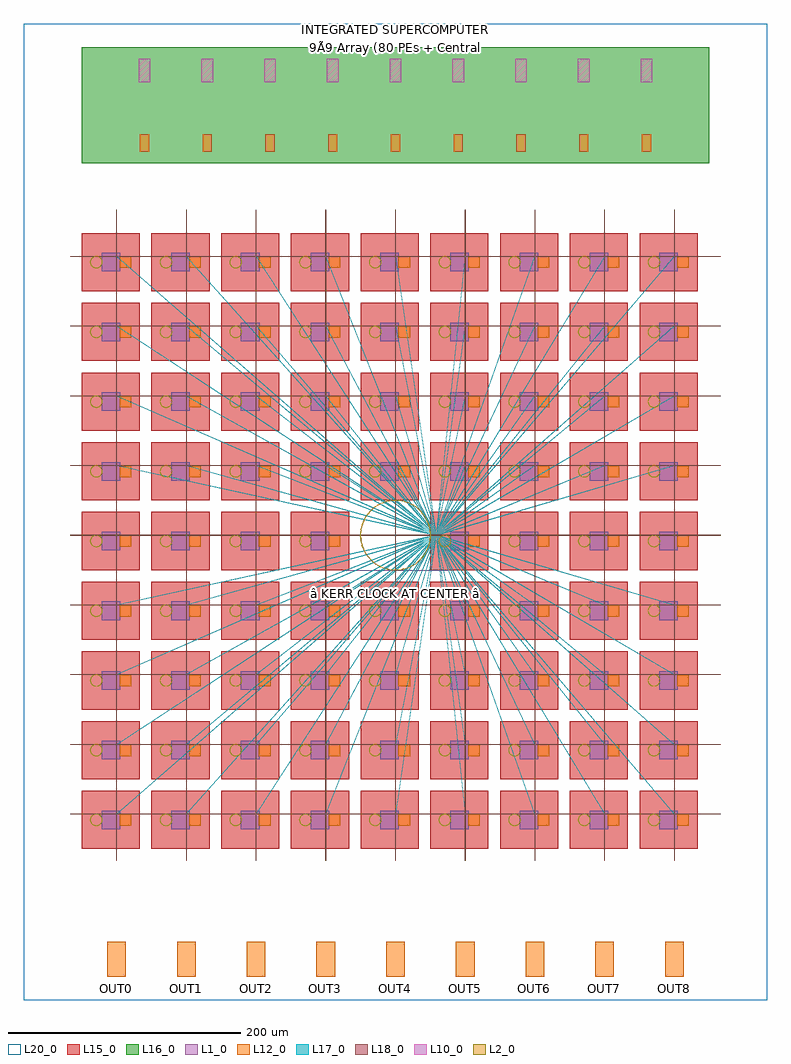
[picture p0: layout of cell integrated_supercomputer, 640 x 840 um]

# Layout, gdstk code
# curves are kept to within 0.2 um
import gdstk
lib = gdstk.Library(unit=1e-6, precision=1e-09)
def R(c, l, rs):  # rectangles x0, y0, x1, y1
    for r in rs: c.add(gdstk.rectangle(r[:2], r[2:], *l))
def A(c, l, x, y, w, h, nx, ny, dx, dy):  # array of equal rectangles
    R(c, l, [(x+i*dx, y+j*dy, x+i*dx+w, y+j*dy+h) for i in range(nx) for j in range(ny)])
def P(c, l, *ps):  # polygons
    for p in ps: c.add(gdstk.Polygon(p, *l))
L1_0 = (1, 0)
L2_0 = (2, 0)
L10_0 = (10, 0)
L12_0 = (12, 0)
L15_0 = (15, 0)
L16_0 = (16, 0)
L17_0 = (17, 0)
L18_0 = (18, 0)
L20_0 = (20, 0)

super_ioc_integrated = lib.new_cell('super_ioc_integrated')
A(super_ioc_integrated, L10_0, 49, 70, 10, 20, 9, 1, 54, 0)
A(super_ioc_integrated, L12_0, 50, 10, 8, 15, 9, 1, 54, 0)
R(super_ioc_integrated, L16_0, [(0,0,540,100)])
super_ioc_integrated.add(gdstk.Label('SUPER IOC', (270,60), layer=100, texttype=0))
super_ioc_integrated.add(gdstk.Label('INTEGRATED', (270,40), layer=100, texttype=0))
super_ioc_integrated.add(gdstk.Label('INâ\x86\x92', (270,95), layer=100, texttype=0))
super_ioc_integrated.add(gdstk.Label('â\x86\x90OUT', (270,5), layer=100, texttype=0))

ring_gdsfactorypcomponen = lib.new_cell('ring_gdsfactorypcomponentspringspring_R30_W0p5_AR2p5_L2_0_A360')
P(ring_gdsfactorypcomponen, L2_0, [(0,-30.25),(-2.636,-30.135),(-3.948,-29.991),(-6.547,-29.533),(-9.096,-28.85),(-11.576,-27.947),(-13.968,-26.832),(-16.253,-25.513),(-18.415,-23.999),(-20.437,-22.303),(-21.39,-21.39),(-22.303,-20.437),(-23.999,-18.415),(-25.513,-16.253),(-26.832,-13.968),(-27.947,-11.576),(-28.85,-9.096),(-29.533,-6.547),(-29.991,-3.948),(-30.135,-2.636),(-30.25,0),(-30.135,2.636),(-29.991,3.948),(-29.533,6.547),(-28.85,9.096),(-27.947,11.576),(-26.832,13.968),(-25.513,16.253),(-23.999,18.415),(-22.303,20.437),(-21.39,21.39),(-20.437,22.303),(-18.415,23.999),(-16.253,25.513),(-13.968,26.832),(-11.576,27.947),(-9.096,28.85),(-6.547,29.533),(-3.948,29.991),(-2.636,30.135),(0,30.25),(2.636,30.135),(3.948,29.991),(6.547,29.533),(9.096,28.85),(11.576,27.947),(13.968,26.832),(16.253,25.513),(18.415,23.999),(20.437,22.303),(21.39,21.39),(22.303,20.437),(23.999,18.415),(25.513,16.253),(26.832,13.968),(27.947,11.576),(28.85,9.096),(29.533,6.547),(29.991,3.948),(30.135,2.636),(30.25,0),(29.75,0),(29.637,2.593),(29.298,5.166),(28.736,7.7),(27.956,10.175),(26.963,12.573),(26.389,13.737),(25.091,15.985),(24.37,17.064),(22.79,19.123),(21.934,20.099),(20.099,21.934),(19.123,22.79),(17.064,24.37),(15.985,25.091),(13.737,26.389),(11.385,27.485),(8.946,28.373),(6.439,29.045),(5.166,29.298),(2.593,29.637),(1.298,29.722),(-1.298,29.722),(-3.883,29.495),(-6.439,29.045),(-8.946,28.373),(-10.175,27.956),(-12.573,26.963),(-13.737,26.389),(-15.985,25.091),(-17.064,24.37),(-19.123,22.79),(-21.036,21.036),(-22.79,19.123),(-24.37,17.064),(-25.091,15.985),(-26.389,13.737),(-26.963,12.573),(-27.956,10.175),(-28.373,8.946),(-29.045,6.439),(-29.298,5.166),(-29.637,2.593),(-29.722,1.298),(-29.722,-1.298),(-29.637,-2.593),(-29.298,-5.166),(-29.045,-6.439),(-28.373,-8.946),(-27.956,-10.175),(-26.963,-12.573),(-26.389,-13.737),(-25.091,-15.985),(-24.37,-17.064),(-22.79,-19.123),(-21.934,-20.099),(-20.099,-21.934),(-19.123,-22.79),(-17.064,-24.37),(-15.985,-25.091),(-13.737,-26.389),(-11.385,-27.485),(-8.946,-28.373),(-6.439,-29.045),(-5.166,-29.298),(-2.593,-29.637),(-1.298,-29.722),(1.298,-29.722),(2.593,-29.637),(5.166,-29.298),(6.439,-29.045),(8.946,-28.373),(10.175,-27.956),(12.573,-26.963),(13.737,-26.389),(15.985,-25.091),(17.064,-24.37),(19.123,-22.79),(20.099,-21.934),(21.934,-20.099),(22.79,-19.123),(24.37,-17.064),(25.764,-14.875),(26.963,-12.573),(27.956,-10.175),(28.373,-8.946),(29.045,-6.439),(29.298,-5.166),(29.637,-2.593),(29.75,0),(30.25,0),(30.135,-2.636),(29.991,-3.948),(29.533,-6.547),(28.85,-9.096),(27.947,-11.576),(26.832,-13.968),(25.513,-16.253),(23.999,-18.415),(22.303,-20.437),(21.39,-21.39),(20.437,-22.303),(18.415,-23.999),(16.253,-25.513),(13.968,-26.832),(11.576,-27.947),(9.096,-28.85),(6.547,-29.533),(3.948,-29.991),(2.636,-30.135)])

straight_gdsfactorypcomp = lib.new_cell('straight_gdsfactorypcomponentspwaveguidespstraight_L90__0507d5f5')
R(straight_gdsfactorypcomp, L1_0, [(0,-0.25,90,0.25)])

kerr_clock = lib.new_cell('kerr_clock')
kerr_clock.add(gdstk.Reference(ring_gdsfactorypcomponen, (0,0)))
kerr_clock.add(gdstk.Reference(straight_gdsfactorypcomp, (-45,-30.45)))
kerr_clock.add(gdstk.Label('KERR', (0,0), layer=100, texttype=0))
kerr_clock.add(gdstk.Label('617MHz', (0,-15), layer=100, texttype=0))

c_ring_gdsfactorypcomponen = lib.new_cell('ring_gdsfactorypcomponentspringspring_R5_W0p3_AR2p5_L2_0_A360')
P(c_ring_gdsfactorypcomponen, L2_0, [(0,-5.15),(-0.894,-5.072),(-1.333,-4.975),(-1.971,-4.758),(-2.954,-4.219),(-3.642,-3.642),(-4.219,-2.954),(-4.758,-1.971),(-4.975,-1.333),(-5.072,-0.894),(-5.15,0),(-5.072,0.894),(-4.975,1.333),(-4.758,1.971),(-4.219,2.954),(-3.642,3.642),(-2.954,4.219),(-1.971,4.758),(-1.333,4.975),(-0.894,5.072),(0,5.15),(0.894,5.072),(1.333,4.975),(1.971,4.758),(2.954,4.219),(3.642,3.642),(4.219,2.954),(4.758,1.971),(4.975,1.333),(5.072,0.894),(5.15,0),(4.85,0),(4.809,0.633),(4.626,1.458),(4.396,2.05),(3.973,2.782),(3.576,3.277),(3.118,3.715),(2.425,4.2),(1.856,4.481),(1.255,4.685),(0.423,4.832),(-0.423,4.832),(-1.05,4.735),(-1.659,4.558),(-2.425,4.2),(-2.952,3.848),(-3.429,3.429),(-3.848,2.952),(-4.2,2.425),(-4.626,1.458),(-4.776,0.842),(-4.845,0.212),(-4.832,-0.423),(-4.735,-1.05),(-4.396,-2.05),(-4.09,-2.606),(-3.715,-3.118),(-3.277,-3.576),(-2.782,-3.973),(-1.856,-4.481),(-1.255,-4.685),(-0.633,-4.809),(0.423,-4.832),(1.05,-4.735),(1.659,-4.558),(2.606,-4.09),(3.429,-3.429),(4.09,-2.606),(4.396,-2.05),(4.626,-1.458),(4.809,-0.633),(4.85,0),(5.15,0),(5.072,-0.894),(4.975,-1.333),(4.758,-1.971),(4.219,-2.954),(3.642,-3.642),(2.954,-4.219),(1.971,-4.758),(1.333,-4.975),(0.894,-5.072)])

pe_0 = lib.new_cell('pe_0')
R(pe_0, L1_0, [(17,17,33,33)])
R(pe_0, L12_0, [(32.5,20,42.5,30)])
R(pe_0, L15_0, [(0,0,50,50)])
pe_0.add(gdstk.Reference(c_ring_gdsfactorypcomponen, (12.5,25)))
pe_0.add(gdstk.Label('PE0', (25,42), layer=100, texttype=0))

pe_1 = lib.new_cell('pe_1')
R(pe_1, L1_0, [(17,17,33,33)])
R(pe_1, L12_0, [(32.5,20,42.5,30)])
R(pe_1, L15_0, [(0,0,50,50)])
pe_1.add(gdstk.Reference(c_ring_gdsfactorypcomponen, (12.5,25)))
pe_1.add(gdstk.Label('PE1', (25,42), layer=100, texttype=0))

pe_2 = lib.new_cell('pe_2')
R(pe_2, L1_0, [(17,17,33,33)])
R(pe_2, L12_0, [(32.5,20,42.5,30)])
R(pe_2, L15_0, [(0,0,50,50)])
pe_2.add(gdstk.Reference(c_ring_gdsfactorypcomponen, (12.5,25)))
pe_2.add(gdstk.Label('PE2', (25,42), layer=100, texttype=0))

pe_3 = lib.new_cell('pe_3')
R(pe_3, L1_0, [(17,17,33,33)])
R(pe_3, L12_0, [(32.5,20,42.5,30)])
R(pe_3, L15_0, [(0,0,50,50)])
pe_3.add(gdstk.Reference(c_ring_gdsfactorypcomponen, (12.5,25)))
pe_3.add(gdstk.Label('PE3', (25,42), layer=100, texttype=0))

pe_4 = lib.new_cell('pe_4')
R(pe_4, L1_0, [(17,17,33,33)])
R(pe_4, L12_0, [(32.5,20,42.5,30)])
R(pe_4, L15_0, [(0,0,50,50)])
pe_4.add(gdstk.Reference(c_ring_gdsfactorypcomponen, (12.5,25)))
pe_4.add(gdstk.Label('PE4', (25,42), layer=100, texttype=0))

pe_5 = lib.new_cell('pe_5')
R(pe_5, L1_0, [(17,17,33,33)])
R(pe_5, L12_0, [(32.5,20,42.5,30)])
R(pe_5, L15_0, [(0,0,50,50)])
pe_5.add(gdstk.Reference(c_ring_gdsfactorypcomponen, (12.5,25)))
pe_5.add(gdstk.Label('PE5', (25,42), layer=100, texttype=0))

pe_6 = lib.new_cell('pe_6')
R(pe_6, L1_0, [(17,17,33,33)])
R(pe_6, L12_0, [(32.5,20,42.5,30)])
R(pe_6, L15_0, [(0,0,50,50)])
pe_6.add(gdstk.Reference(c_ring_gdsfactorypcomponen, (12.5,25)))
pe_6.add(gdstk.Label('PE6', (25,42), layer=100, texttype=0))

pe_7 = lib.new_cell('pe_7')
R(pe_7, L1_0, [(17,17,33,33)])
R(pe_7, L12_0, [(32.5,20,42.5,30)])
R(pe_7, L15_0, [(0,0,50,50)])
pe_7.add(gdstk.Reference(c_ring_gdsfactorypcomponen, (12.5,25)))
pe_7.add(gdstk.Label('PE7', (25,42), layer=100, texttype=0))

pe_8 = lib.new_cell('pe_8')
R(pe_8, L1_0, [(17,17,33,33)])
R(pe_8, L12_0, [(32.5,20,42.5,30)])
R(pe_8, L15_0, [(0,0,50,50)])
pe_8.add(gdstk.Reference(c_ring_gdsfactorypcomponen, (12.5,25)))
pe_8.add(gdstk.Label('PE8', (25,42), layer=100, texttype=0))

pe_9 = lib.new_cell('pe_9')
R(pe_9, L1_0, [(17,17,33,33)])
R(pe_9, L12_0, [(32.5,20,42.5,30)])
R(pe_9, L15_0, [(0,0,50,50)])
pe_9.add(gdstk.Reference(c_ring_gdsfactorypcomponen, (12.5,25)))
pe_9.add(gdstk.Label('PE9', (25,42), layer=100, texttype=0))

pe_10 = lib.new_cell('pe_10')
R(pe_10, L1_0, [(17,17,33,33)])
R(pe_10, L12_0, [(32.5,20,42.5,30)])
R(pe_10, L15_0, [(0,0,50,50)])
pe_10.add(gdstk.Reference(c_ring_gdsfactorypcomponen, (12.5,25)))
pe_10.add(gdstk.Label('PE10', (25,42), layer=100, texttype=0))

pe_11 = lib.new_cell('pe_11')
R(pe_11, L1_0, [(17,17,33,33)])
R(pe_11, L12_0, [(32.5,20,42.5,30)])
R(pe_11, L15_0, [(0,0,50,50)])
pe_11.add(gdstk.Reference(c_ring_gdsfactorypcomponen, (12.5,25)))
pe_11.add(gdstk.Label('PE11', (25,42), layer=100, texttype=0))

pe_12 = lib.new_cell('pe_12')
R(pe_12, L1_0, [(17,17,33,33)])
R(pe_12, L12_0, [(32.5,20,42.5,30)])
R(pe_12, L15_0, [(0,0,50,50)])
pe_12.add(gdstk.Reference(c_ring_gdsfactorypcomponen, (12.5,25)))
pe_12.add(gdstk.Label('PE12', (25,42), layer=100, texttype=0))

pe_13 = lib.new_cell('pe_13')
R(pe_13, L1_0, [(17,17,33,33)])
R(pe_13, L12_0, [(32.5,20,42.5,30)])
R(pe_13, L15_0, [(0,0,50,50)])
pe_13.add(gdstk.Reference(c_ring_gdsfactorypcomponen, (12.5,25)))
pe_13.add(gdstk.Label('PE13', (25,42), layer=100, texttype=0))

pe_14 = lib.new_cell('pe_14')
R(pe_14, L1_0, [(17,17,33,33)])
R(pe_14, L12_0, [(32.5,20,42.5,30)])
R(pe_14, L15_0, [(0,0,50,50)])
pe_14.add(gdstk.Reference(c_ring_gdsfactorypcomponen, (12.5,25)))
pe_14.add(gdstk.Label('PE14', (25,42), layer=100, texttype=0))

pe_15 = lib.new_cell('pe_15')
R(pe_15, L1_0, [(17,17,33,33)])
R(pe_15, L12_0, [(32.5,20,42.5,30)])
R(pe_15, L15_0, [(0,0,50,50)])
pe_15.add(gdstk.Reference(c_ring_gdsfactorypcomponen, (12.5,25)))
pe_15.add(gdstk.Label('PE15', (25,42), layer=100, texttype=0))

pe_16 = lib.new_cell('pe_16')
R(pe_16, L1_0, [(17,17,33,33)])
R(pe_16, L12_0, [(32.5,20,42.5,30)])
R(pe_16, L15_0, [(0,0,50,50)])
pe_16.add(gdstk.Reference(c_ring_gdsfactorypcomponen, (12.5,25)))
pe_16.add(gdstk.Label('PE16', (25,42), layer=100, texttype=0))

pe_17 = lib.new_cell('pe_17')
R(pe_17, L1_0, [(17,17,33,33)])
R(pe_17, L12_0, [(32.5,20,42.5,30)])
R(pe_17, L15_0, [(0,0,50,50)])
pe_17.add(gdstk.Reference(c_ring_gdsfactorypcomponen, (12.5,25)))
pe_17.add(gdstk.Label('PE17', (25,42), layer=100, texttype=0))

pe_18 = lib.new_cell('pe_18')
R(pe_18, L1_0, [(17,17,33,33)])
R(pe_18, L12_0, [(32.5,20,42.5,30)])
R(pe_18, L15_0, [(0,0,50,50)])
pe_18.add(gdstk.Reference(c_ring_gdsfactorypcomponen, (12.5,25)))
pe_18.add(gdstk.Label('PE18', (25,42), layer=100, texttype=0))

pe_19 = lib.new_cell('pe_19')
R(pe_19, L1_0, [(17,17,33,33)])
R(pe_19, L12_0, [(32.5,20,42.5,30)])
R(pe_19, L15_0, [(0,0,50,50)])
pe_19.add(gdstk.Reference(c_ring_gdsfactorypcomponen, (12.5,25)))
pe_19.add(gdstk.Label('PE19', (25,42), layer=100, texttype=0))

pe_20 = lib.new_cell('pe_20')
R(pe_20, L1_0, [(17,17,33,33)])
R(pe_20, L12_0, [(32.5,20,42.5,30)])
R(pe_20, L15_0, [(0,0,50,50)])
pe_20.add(gdstk.Reference(c_ring_gdsfactorypcomponen, (12.5,25)))
pe_20.add(gdstk.Label('PE20', (25,42), layer=100, texttype=0))

pe_21 = lib.new_cell('pe_21')
R(pe_21, L1_0, [(17,17,33,33)])
R(pe_21, L12_0, [(32.5,20,42.5,30)])
R(pe_21, L15_0, [(0,0,50,50)])
pe_21.add(gdstk.Reference(c_ring_gdsfactorypcomponen, (12.5,25)))
pe_21.add(gdstk.Label('PE21', (25,42), layer=100, texttype=0))

pe_22 = lib.new_cell('pe_22')
R(pe_22, L1_0, [(17,17,33,33)])
R(pe_22, L12_0, [(32.5,20,42.5,30)])
R(pe_22, L15_0, [(0,0,50,50)])
pe_22.add(gdstk.Reference(c_ring_gdsfactorypcomponen, (12.5,25)))
pe_22.add(gdstk.Label('PE22', (25,42), layer=100, texttype=0))

pe_23 = lib.new_cell('pe_23')
R(pe_23, L1_0, [(17,17,33,33)])
R(pe_23, L12_0, [(32.5,20,42.5,30)])
R(pe_23, L15_0, [(0,0,50,50)])
pe_23.add(gdstk.Reference(c_ring_gdsfactorypcomponen, (12.5,25)))
pe_23.add(gdstk.Label('PE23', (25,42), layer=100, texttype=0))

pe_24 = lib.new_cell('pe_24')
R(pe_24, L1_0, [(17,17,33,33)])
R(pe_24, L12_0, [(32.5,20,42.5,30)])
R(pe_24, L15_0, [(0,0,50,50)])
pe_24.add(gdstk.Reference(c_ring_gdsfactorypcomponen, (12.5,25)))
pe_24.add(gdstk.Label('PE24', (25,42), layer=100, texttype=0))

pe_25 = lib.new_cell('pe_25')
R(pe_25, L1_0, [(17,17,33,33)])
R(pe_25, L12_0, [(32.5,20,42.5,30)])
R(pe_25, L15_0, [(0,0,50,50)])
pe_25.add(gdstk.Reference(c_ring_gdsfactorypcomponen, (12.5,25)))
pe_25.add(gdstk.Label('PE25', (25,42), layer=100, texttype=0))

pe_26 = lib.new_cell('pe_26')
R(pe_26, L1_0, [(17,17,33,33)])
R(pe_26, L12_0, [(32.5,20,42.5,30)])
R(pe_26, L15_0, [(0,0,50,50)])
pe_26.add(gdstk.Reference(c_ring_gdsfactorypcomponen, (12.5,25)))
pe_26.add(gdstk.Label('PE26', (25,42), layer=100, texttype=0))

pe_27 = lib.new_cell('pe_27')
R(pe_27, L1_0, [(17,17,33,33)])
R(pe_27, L12_0, [(32.5,20,42.5,30)])
R(pe_27, L15_0, [(0,0,50,50)])
pe_27.add(gdstk.Reference(c_ring_gdsfactorypcomponen, (12.5,25)))
pe_27.add(gdstk.Label('PE27', (25,42), layer=100, texttype=0))

pe_28 = lib.new_cell('pe_28')
R(pe_28, L1_0, [(17,17,33,33)])
R(pe_28, L12_0, [(32.5,20,42.5,30)])
R(pe_28, L15_0, [(0,0,50,50)])
pe_28.add(gdstk.Reference(c_ring_gdsfactorypcomponen, (12.5,25)))
pe_28.add(gdstk.Label('PE28', (25,42), layer=100, texttype=0))

pe_29 = lib.new_cell('pe_29')
R(pe_29, L1_0, [(17,17,33,33)])
R(pe_29, L12_0, [(32.5,20,42.5,30)])
R(pe_29, L15_0, [(0,0,50,50)])
pe_29.add(gdstk.Reference(c_ring_gdsfactorypcomponen, (12.5,25)))
pe_29.add(gdstk.Label('PE29', (25,42), layer=100, texttype=0))

pe_30 = lib.new_cell('pe_30')
R(pe_30, L1_0, [(17,17,33,33)])
R(pe_30, L12_0, [(32.5,20,42.5,30)])
R(pe_30, L15_0, [(0,0,50,50)])
pe_30.add(gdstk.Reference(c_ring_gdsfactorypcomponen, (12.5,25)))
pe_30.add(gdstk.Label('PE30', (25,42), layer=100, texttype=0))

pe_31 = lib.new_cell('pe_31')
R(pe_31, L1_0, [(17,17,33,33)])
R(pe_31, L12_0, [(32.5,20,42.5,30)])
R(pe_31, L15_0, [(0,0,50,50)])
pe_31.add(gdstk.Reference(c_ring_gdsfactorypcomponen, (12.5,25)))
pe_31.add(gdstk.Label('PE31', (25,42), layer=100, texttype=0))

pe_32 = lib.new_cell('pe_32')
R(pe_32, L1_0, [(17,17,33,33)])
R(pe_32, L12_0, [(32.5,20,42.5,30)])
R(pe_32, L15_0, [(0,0,50,50)])
pe_32.add(gdstk.Reference(c_ring_gdsfactorypcomponen, (12.5,25)))
pe_32.add(gdstk.Label('PE32', (25,42), layer=100, texttype=0))

pe_33 = lib.new_cell('pe_33')
R(pe_33, L1_0, [(17,17,33,33)])
R(pe_33, L12_0, [(32.5,20,42.5,30)])
R(pe_33, L15_0, [(0,0,50,50)])
pe_33.add(gdstk.Reference(c_ring_gdsfactorypcomponen, (12.5,25)))
pe_33.add(gdstk.Label('PE33', (25,42), layer=100, texttype=0))

pe_34 = lib.new_cell('pe_34')
R(pe_34, L1_0, [(17,17,33,33)])
R(pe_34, L12_0, [(32.5,20,42.5,30)])
R(pe_34, L15_0, [(0,0,50,50)])
pe_34.add(gdstk.Reference(c_ring_gdsfactorypcomponen, (12.5,25)))
pe_34.add(gdstk.Label('PE34', (25,42), layer=100, texttype=0))

pe_35 = lib.new_cell('pe_35')
R(pe_35, L1_0, [(17,17,33,33)])
R(pe_35, L12_0, [(32.5,20,42.5,30)])
R(pe_35, L15_0, [(0,0,50,50)])
pe_35.add(gdstk.Reference(c_ring_gdsfactorypcomponen, (12.5,25)))
pe_35.add(gdstk.Label('PE35', (25,42), layer=100, texttype=0))

pe_36 = lib.new_cell('pe_36')
R(pe_36, L1_0, [(17,17,33,33)])
R(pe_36, L12_0, [(32.5,20,42.5,30)])
R(pe_36, L15_0, [(0,0,50,50)])
pe_36.add(gdstk.Reference(c_ring_gdsfactorypcomponen, (12.5,25)))
pe_36.add(gdstk.Label('PE36', (25,42), layer=100, texttype=0))

pe_37 = lib.new_cell('pe_37')
R(pe_37, L1_0, [(17,17,33,33)])
R(pe_37, L12_0, [(32.5,20,42.5,30)])
R(pe_37, L15_0, [(0,0,50,50)])
pe_37.add(gdstk.Reference(c_ring_gdsfactorypcomponen, (12.5,25)))
pe_37.add(gdstk.Label('PE37', (25,42), layer=100, texttype=0))

pe_38 = lib.new_cell('pe_38')
R(pe_38, L1_0, [(17,17,33,33)])
R(pe_38, L12_0, [(32.5,20,42.5,30)])
R(pe_38, L15_0, [(0,0,50,50)])
pe_38.add(gdstk.Reference(c_ring_gdsfactorypcomponen, (12.5,25)))
pe_38.add(gdstk.Label('PE38', (25,42), layer=100, texttype=0))

pe_39 = lib.new_cell('pe_39')
R(pe_39, L1_0, [(17,17,33,33)])
R(pe_39, L12_0, [(32.5,20,42.5,30)])
R(pe_39, L15_0, [(0,0,50,50)])
pe_39.add(gdstk.Reference(c_ring_gdsfactorypcomponen, (12.5,25)))
pe_39.add(gdstk.Label('PE39', (25,42), layer=100, texttype=0))

pe_40 = lib.new_cell('pe_40')
R(pe_40, L1_0, [(17,17,33,33)])
R(pe_40, L12_0, [(32.5,20,42.5,30)])
R(pe_40, L15_0, [(0,0,50,50)])
pe_40.add(gdstk.Reference(c_ring_gdsfactorypcomponen, (12.5,25)))
pe_40.add(gdstk.Label('PE40', (25,42), layer=100, texttype=0))

pe_41 = lib.new_cell('pe_41')
R(pe_41, L1_0, [(17,17,33,33)])
R(pe_41, L12_0, [(32.5,20,42.5,30)])
R(pe_41, L15_0, [(0,0,50,50)])
pe_41.add(gdstk.Reference(c_ring_gdsfactorypcomponen, (12.5,25)))
pe_41.add(gdstk.Label('PE41', (25,42), layer=100, texttype=0))

pe_42 = lib.new_cell('pe_42')
R(pe_42, L1_0, [(17,17,33,33)])
R(pe_42, L12_0, [(32.5,20,42.5,30)])
R(pe_42, L15_0, [(0,0,50,50)])
pe_42.add(gdstk.Reference(c_ring_gdsfactorypcomponen, (12.5,25)))
pe_42.add(gdstk.Label('PE42', (25,42), layer=100, texttype=0))

pe_43 = lib.new_cell('pe_43')
R(pe_43, L1_0, [(17,17,33,33)])
R(pe_43, L12_0, [(32.5,20,42.5,30)])
R(pe_43, L15_0, [(0,0,50,50)])
pe_43.add(gdstk.Reference(c_ring_gdsfactorypcomponen, (12.5,25)))
pe_43.add(gdstk.Label('PE43', (25,42), layer=100, texttype=0))

pe_44 = lib.new_cell('pe_44')
R(pe_44, L1_0, [(17,17,33,33)])
R(pe_44, L12_0, [(32.5,20,42.5,30)])
R(pe_44, L15_0, [(0,0,50,50)])
pe_44.add(gdstk.Reference(c_ring_gdsfactorypcomponen, (12.5,25)))
pe_44.add(gdstk.Label('PE44', (25,42), layer=100, texttype=0))

pe_45 = lib.new_cell('pe_45')
R(pe_45, L1_0, [(17,17,33,33)])
R(pe_45, L12_0, [(32.5,20,42.5,30)])
R(pe_45, L15_0, [(0,0,50,50)])
pe_45.add(gdstk.Reference(c_ring_gdsfactorypcomponen, (12.5,25)))
pe_45.add(gdstk.Label('PE45', (25,42), layer=100, texttype=0))

pe_46 = lib.new_cell('pe_46')
R(pe_46, L1_0, [(17,17,33,33)])
R(pe_46, L12_0, [(32.5,20,42.5,30)])
R(pe_46, L15_0, [(0,0,50,50)])
pe_46.add(gdstk.Reference(c_ring_gdsfactorypcomponen, (12.5,25)))
pe_46.add(gdstk.Label('PE46', (25,42), layer=100, texttype=0))

pe_47 = lib.new_cell('pe_47')
R(pe_47, L1_0, [(17,17,33,33)])
R(pe_47, L12_0, [(32.5,20,42.5,30)])
R(pe_47, L15_0, [(0,0,50,50)])
pe_47.add(gdstk.Reference(c_ring_gdsfactorypcomponen, (12.5,25)))
pe_47.add(gdstk.Label('PE47', (25,42), layer=100, texttype=0))

pe_48 = lib.new_cell('pe_48')
R(pe_48, L1_0, [(17,17,33,33)])
R(pe_48, L12_0, [(32.5,20,42.5,30)])
R(pe_48, L15_0, [(0,0,50,50)])
pe_48.add(gdstk.Reference(c_ring_gdsfactorypcomponen, (12.5,25)))
pe_48.add(gdstk.Label('PE48', (25,42), layer=100, texttype=0))

pe_49 = lib.new_cell('pe_49')
R(pe_49, L1_0, [(17,17,33,33)])
R(pe_49, L12_0, [(32.5,20,42.5,30)])
R(pe_49, L15_0, [(0,0,50,50)])
pe_49.add(gdstk.Reference(c_ring_gdsfactorypcomponen, (12.5,25)))
pe_49.add(gdstk.Label('PE49', (25,42), layer=100, texttype=0))

pe_50 = lib.new_cell('pe_50')
R(pe_50, L1_0, [(17,17,33,33)])
R(pe_50, L12_0, [(32.5,20,42.5,30)])
R(pe_50, L15_0, [(0,0,50,50)])
pe_50.add(gdstk.Reference(c_ring_gdsfactorypcomponen, (12.5,25)))
pe_50.add(gdstk.Label('PE50', (25,42), layer=100, texttype=0))

pe_51 = lib.new_cell('pe_51')
R(pe_51, L1_0, [(17,17,33,33)])
R(pe_51, L12_0, [(32.5,20,42.5,30)])
R(pe_51, L15_0, [(0,0,50,50)])
pe_51.add(gdstk.Reference(c_ring_gdsfactorypcomponen, (12.5,25)))
pe_51.add(gdstk.Label('PE51', (25,42), layer=100, texttype=0))

pe_52 = lib.new_cell('pe_52')
R(pe_52, L1_0, [(17,17,33,33)])
R(pe_52, L12_0, [(32.5,20,42.5,30)])
R(pe_52, L15_0, [(0,0,50,50)])
pe_52.add(gdstk.Reference(c_ring_gdsfactorypcomponen, (12.5,25)))
pe_52.add(gdstk.Label('PE52', (25,42), layer=100, texttype=0))

pe_53 = lib.new_cell('pe_53')
R(pe_53, L1_0, [(17,17,33,33)])
R(pe_53, L12_0, [(32.5,20,42.5,30)])
R(pe_53, L15_0, [(0,0,50,50)])
pe_53.add(gdstk.Reference(c_ring_gdsfactorypcomponen, (12.5,25)))
pe_53.add(gdstk.Label('PE53', (25,42), layer=100, texttype=0))

pe_54 = lib.new_cell('pe_54')
R(pe_54, L1_0, [(17,17,33,33)])
R(pe_54, L12_0, [(32.5,20,42.5,30)])
R(pe_54, L15_0, [(0,0,50,50)])
pe_54.add(gdstk.Reference(c_ring_gdsfactorypcomponen, (12.5,25)))
pe_54.add(gdstk.Label('PE54', (25,42), layer=100, texttype=0))

pe_55 = lib.new_cell('pe_55')
R(pe_55, L1_0, [(17,17,33,33)])
R(pe_55, L12_0, [(32.5,20,42.5,30)])
R(pe_55, L15_0, [(0,0,50,50)])
pe_55.add(gdstk.Reference(c_ring_gdsfactorypcomponen, (12.5,25)))
pe_55.add(gdstk.Label('PE55', (25,42), layer=100, texttype=0))

pe_56 = lib.new_cell('pe_56')
R(pe_56, L1_0, [(17,17,33,33)])
R(pe_56, L12_0, [(32.5,20,42.5,30)])
R(pe_56, L15_0, [(0,0,50,50)])
pe_56.add(gdstk.Reference(c_ring_gdsfactorypcomponen, (12.5,25)))
pe_56.add(gdstk.Label('PE56', (25,42), layer=100, texttype=0))

pe_57 = lib.new_cell('pe_57')
R(pe_57, L1_0, [(17,17,33,33)])
R(pe_57, L12_0, [(32.5,20,42.5,30)])
R(pe_57, L15_0, [(0,0,50,50)])
pe_57.add(gdstk.Reference(c_ring_gdsfactorypcomponen, (12.5,25)))
pe_57.add(gdstk.Label('PE57', (25,42), layer=100, texttype=0))

pe_58 = lib.new_cell('pe_58')
R(pe_58, L1_0, [(17,17,33,33)])
R(pe_58, L12_0, [(32.5,20,42.5,30)])
R(pe_58, L15_0, [(0,0,50,50)])
pe_58.add(gdstk.Reference(c_ring_gdsfactorypcomponen, (12.5,25)))
pe_58.add(gdstk.Label('PE58', (25,42), layer=100, texttype=0))

pe_59 = lib.new_cell('pe_59')
R(pe_59, L1_0, [(17,17,33,33)])
R(pe_59, L12_0, [(32.5,20,42.5,30)])
R(pe_59, L15_0, [(0,0,50,50)])
pe_59.add(gdstk.Reference(c_ring_gdsfactorypcomponen, (12.5,25)))
pe_59.add(gdstk.Label('PE59', (25,42), layer=100, texttype=0))

pe_60 = lib.new_cell('pe_60')
R(pe_60, L1_0, [(17,17,33,33)])
R(pe_60, L12_0, [(32.5,20,42.5,30)])
R(pe_60, L15_0, [(0,0,50,50)])
pe_60.add(gdstk.Reference(c_ring_gdsfactorypcomponen, (12.5,25)))
pe_60.add(gdstk.Label('PE60', (25,42), layer=100, texttype=0))

pe_61 = lib.new_cell('pe_61')
R(pe_61, L1_0, [(17,17,33,33)])
R(pe_61, L12_0, [(32.5,20,42.5,30)])
R(pe_61, L15_0, [(0,0,50,50)])
pe_61.add(gdstk.Reference(c_ring_gdsfactorypcomponen, (12.5,25)))
pe_61.add(gdstk.Label('PE61', (25,42), layer=100, texttype=0))

pe_62 = lib.new_cell('pe_62')
R(pe_62, L1_0, [(17,17,33,33)])
R(pe_62, L12_0, [(32.5,20,42.5,30)])
R(pe_62, L15_0, [(0,0,50,50)])
pe_62.add(gdstk.Reference(c_ring_gdsfactorypcomponen, (12.5,25)))
pe_62.add(gdstk.Label('PE62', (25,42), layer=100, texttype=0))

pe_63 = lib.new_cell('pe_63')
R(pe_63, L1_0, [(17,17,33,33)])
R(pe_63, L12_0, [(32.5,20,42.5,30)])
R(pe_63, L15_0, [(0,0,50,50)])
pe_63.add(gdstk.Reference(c_ring_gdsfactorypcomponen, (12.5,25)))
pe_63.add(gdstk.Label('PE63', (25,42), layer=100, texttype=0))

pe_64 = lib.new_cell('pe_64')
R(pe_64, L1_0, [(17,17,33,33)])
R(pe_64, L12_0, [(32.5,20,42.5,30)])
R(pe_64, L15_0, [(0,0,50,50)])
pe_64.add(gdstk.Reference(c_ring_gdsfactorypcomponen, (12.5,25)))
pe_64.add(gdstk.Label('PE64', (25,42), layer=100, texttype=0))

pe_65 = lib.new_cell('pe_65')
R(pe_65, L1_0, [(17,17,33,33)])
R(pe_65, L12_0, [(32.5,20,42.5,30)])
R(pe_65, L15_0, [(0,0,50,50)])
pe_65.add(gdstk.Reference(c_ring_gdsfactorypcomponen, (12.5,25)))
pe_65.add(gdstk.Label('PE65', (25,42), layer=100, texttype=0))

pe_66 = lib.new_cell('pe_66')
R(pe_66, L1_0, [(17,17,33,33)])
R(pe_66, L12_0, [(32.5,20,42.5,30)])
R(pe_66, L15_0, [(0,0,50,50)])
pe_66.add(gdstk.Reference(c_ring_gdsfactorypcomponen, (12.5,25)))
pe_66.add(gdstk.Label('PE66', (25,42), layer=100, texttype=0))

pe_67 = lib.new_cell('pe_67')
R(pe_67, L1_0, [(17,17,33,33)])
R(pe_67, L12_0, [(32.5,20,42.5,30)])
R(pe_67, L15_0, [(0,0,50,50)])
pe_67.add(gdstk.Reference(c_ring_gdsfactorypcomponen, (12.5,25)))
pe_67.add(gdstk.Label('PE67', (25,42), layer=100, texttype=0))

pe_68 = lib.new_cell('pe_68')
R(pe_68, L1_0, [(17,17,33,33)])
R(pe_68, L12_0, [(32.5,20,42.5,30)])
R(pe_68, L15_0, [(0,0,50,50)])
pe_68.add(gdstk.Reference(c_ring_gdsfactorypcomponen, (12.5,25)))
pe_68.add(gdstk.Label('PE68', (25,42), layer=100, texttype=0))

pe_69 = lib.new_cell('pe_69')
R(pe_69, L1_0, [(17,17,33,33)])
R(pe_69, L12_0, [(32.5,20,42.5,30)])
R(pe_69, L15_0, [(0,0,50,50)])
pe_69.add(gdstk.Reference(c_ring_gdsfactorypcomponen, (12.5,25)))
pe_69.add(gdstk.Label('PE69', (25,42), layer=100, texttype=0))

pe_70 = lib.new_cell('pe_70')
R(pe_70, L1_0, [(17,17,33,33)])
R(pe_70, L12_0, [(32.5,20,42.5,30)])
R(pe_70, L15_0, [(0,0,50,50)])
pe_70.add(gdstk.Reference(c_ring_gdsfactorypcomponen, (12.5,25)))
pe_70.add(gdstk.Label('PE70', (25,42), layer=100, texttype=0))

pe_71 = lib.new_cell('pe_71')
R(pe_71, L1_0, [(17,17,33,33)])
R(pe_71, L12_0, [(32.5,20,42.5,30)])
R(pe_71, L15_0, [(0,0,50,50)])
pe_71.add(gdstk.Reference(c_ring_gdsfactorypcomponen, (12.5,25)))
pe_71.add(gdstk.Label('PE71', (25,42), layer=100, texttype=0))

pe_72 = lib.new_cell('pe_72')
R(pe_72, L1_0, [(17,17,33,33)])
R(pe_72, L12_0, [(32.5,20,42.5,30)])
R(pe_72, L15_0, [(0,0,50,50)])
pe_72.add(gdstk.Reference(c_ring_gdsfactorypcomponen, (12.5,25)))
pe_72.add(gdstk.Label('PE72', (25,42), layer=100, texttype=0))

pe_73 = lib.new_cell('pe_73')
R(pe_73, L1_0, [(17,17,33,33)])
R(pe_73, L12_0, [(32.5,20,42.5,30)])
R(pe_73, L15_0, [(0,0,50,50)])
pe_73.add(gdstk.Reference(c_ring_gdsfactorypcomponen, (12.5,25)))
pe_73.add(gdstk.Label('PE73', (25,42), layer=100, texttype=0))

pe_74 = lib.new_cell('pe_74')
R(pe_74, L1_0, [(17,17,33,33)])
R(pe_74, L12_0, [(32.5,20,42.5,30)])
R(pe_74, L15_0, [(0,0,50,50)])
pe_74.add(gdstk.Reference(c_ring_gdsfactorypcomponen, (12.5,25)))
pe_74.add(gdstk.Label('PE74', (25,42), layer=100, texttype=0))

pe_75 = lib.new_cell('pe_75')
R(pe_75, L1_0, [(17,17,33,33)])
R(pe_75, L12_0, [(32.5,20,42.5,30)])
R(pe_75, L15_0, [(0,0,50,50)])
pe_75.add(gdstk.Reference(c_ring_gdsfactorypcomponen, (12.5,25)))
pe_75.add(gdstk.Label('PE75', (25,42), layer=100, texttype=0))

pe_76 = lib.new_cell('pe_76')
R(pe_76, L1_0, [(17,17,33,33)])
R(pe_76, L12_0, [(32.5,20,42.5,30)])
R(pe_76, L15_0, [(0,0,50,50)])
pe_76.add(gdstk.Reference(c_ring_gdsfactorypcomponen, (12.5,25)))
pe_76.add(gdstk.Label('PE76', (25,42), layer=100, texttype=0))

pe_77 = lib.new_cell('pe_77')
R(pe_77, L1_0, [(17,17,33,33)])
R(pe_77, L12_0, [(32.5,20,42.5,30)])
R(pe_77, L15_0, [(0,0,50,50)])
pe_77.add(gdstk.Reference(c_ring_gdsfactorypcomponen, (12.5,25)))
pe_77.add(gdstk.Label('PE77', (25,42), layer=100, texttype=0))

pe_78 = lib.new_cell('pe_78')
R(pe_78, L1_0, [(17,17,33,33)])
R(pe_78, L12_0, [(32.5,20,42.5,30)])
R(pe_78, L15_0, [(0,0,50,50)])
pe_78.add(gdstk.Reference(c_ring_gdsfactorypcomponen, (12.5,25)))
pe_78.add(gdstk.Label('PE78', (25,42), layer=100, texttype=0))

pe_79 = lib.new_cell('pe_79')
R(pe_79, L1_0, [(17,17,33,33)])
R(pe_79, L12_0, [(32.5,20,42.5,30)])
R(pe_79, L15_0, [(0,0,50,50)])
pe_79.add(gdstk.Reference(c_ring_gdsfactorypcomponen, (12.5,25)))
pe_79.add(gdstk.Label('PE79', (25,42), layer=100, texttype=0))

integrated_supercomputer = lib.new_cell('integrated_supercomputer')
A(integrated_supercomputer, L12_0, 72, 20, 16, 30, 9, 1, 60, 0)
R(integrated_supercomputer, L17_0, [(80,399.75,355,400.25), (140,399.75,355,400.25), (200,399.75,355,400.25), (260,399.75,355,400.25), (355,399.75,380,400.25), (355,399.75,440,400.25), (355,399.75,500,400.25), (355,399.75,560,400.25)])
P(integrated_supercomputer, L17_0, [(80,159.75),(80,160.25),(355,400.25),(355,399.75)],
  [(140,159.75),(140,160.25),(355,400.25),(355,399.75)],
  [(200,159.75),(200,160.25),(355,400.25),(355,399.75)],
  [(260,159.75),(260,160.25),(355,400.25),(355,399.75)],
  [(320,159.75),(320,160.25),(355,400.25),(355,399.75)],
  [(380,159.75),(355,399.75),(355,400.25),(380,160.25)],
  [(440,159.75),(355,399.75),(355,400.25),(440,160.25)],
  [(500,159.75),(355,399.75),(355,400.25),(500,160.25)],
  [(560,159.75),(355,399.75),(355,400.25),(560,160.25)],
  [(80,219.75),(80,220.25),(355,400.25),(355,399.75)],
  [(140,219.75),(140,220.25),(355,400.25),(355,399.75)],
  [(200,219.75),(200,220.25),(355,400.25),(355,399.75)],
  [(260,219.75),(260,220.25),(355,400.25),(355,399.75)],
  [(320,219.75),(320,220.25),(355,400.25),(355,399.75)],
  [(380,219.75),(355,399.75),(355,400.25),(380,220.25)],
  [(440,219.75),(355,399.75),(355,400.25),(440,220.25)],
  [(500,219.75),(355,399.75),(355,400.25),(500,220.25)],
  [(560,219.75),(355,399.75),(355,400.25),(560,220.25)],
  [(80,279.75),(80,280.25),(355,400.25),(355,399.75)],
  [(140,279.75),(140,280.25),(355,400.25),(355,399.75)],
  [(200,279.75),(200,280.25),(355,400.25),(355,399.75)],
  [(260,279.75),(260,280.25),(355,400.25),(355,399.75)],
  [(320,279.75),(320,280.25),(355,400.25),(355,399.75)],
  [(380,279.75),(355,399.75),(355,400.25),(380,280.25)],
  [(440,279.75),(355,399.75),(355,400.25),(440,280.25)],
  [(500,279.75),(355,399.75),(355,400.25),(500,280.25)],
  [(560,279.75),(355,399.75),(355,400.25),(560,280.25)],
  [(80,339.75),(80,340.25),(355,400.25),(355,399.75)],
  [(140,339.75),(140,340.25),(355,400.25),(355,399.75)],
  [(200,339.75),(200,340.25),(355,400.25),(355,399.75)],
  [(260,339.75),(260,340.25),(355,400.25),(355,399.75)],
  [(320,339.75),(320,340.25),(355,400.25),(355,399.75)],
  [(380,339.75),(355,399.75),(355,400.25),(380,340.25)],
  [(440,339.75),(355,399.75),(355,400.25),(440,340.25)],
  [(500,339.75),(355,399.75),(355,400.25),(500,340.25)],
  [(560,339.75),(355,399.75),(355,400.25),(560,340.25)],
  [(355,399.75),(80,459.75),(80,460.25),(355,400.25)],
  [(355,399.75),(140,459.75),(140,460.25),(355,400.25)],
  [(355,399.75),(200,459.75),(200,460.25),(355,400.25)],
  [(355,399.75),(260,459.75),(260,460.25),(355,400.25)],
  [(355,399.75),(320,459.75),(320,460.25),(355,400.25)],
  [(355,399.75),(355,400.25),(380,460.25),(380,459.75)],
  [(355,399.75),(355,400.25),(440,460.25),(440,459.75)],
  [(355,399.75),(355,400.25),(500,460.25),(500,459.75)],
  [(355,399.75),(355,400.25),(560,460.25),(560,459.75)],
  [(355,399.75),(80,519.75),(80,520.25),(355,400.25)],
  [(355,399.75),(140,519.75),(140,520.25),(355,400.25)],
  [(355,399.75),(200,519.75),(200,520.25),(355,400.25)],
  [(355,399.75),(260,519.75),(260,520.25),(355,400.25)],
  [(355,399.75),(320,519.75),(320,520.25),(355,400.25)],
  [(355,399.75),(355,400.25),(380,520.25),(380,519.75)],
  [(355,399.75),(355,400.25),(440,520.25),(440,519.75)],
  [(355,399.75),(355,400.25),(500,520.25),(500,519.75)],
  [(355,399.75),(355,400.25),(560,520.25),(560,519.75)],
  [(355,399.75),(80,579.75),(80,580.25),(355,400.25)],
  [(355,399.75),(140,579.75),(140,580.25),(355,400.25)],
  [(355,399.75),(200,579.75),(200,580.25),(355,400.25)],
  [(355,399.75),(260,579.75),(260,580.25),(355,400.25)],
  [(355,399.75),(320,579.75),(320,580.25),(355,400.25)],
  [(355,399.75),(355,400.25),(380,580.25),(380,579.75)],
  [(355,399.75),(355,400.25),(440,580.25),(440,579.75)],
  [(355,399.75),(355,400.25),(500,580.25),(500,579.75)],
  [(355,399.75),(355,400.25),(560,580.25),(560,579.75)],
  [(355,399.75),(80,639.75),(80,640.25),(355,400.25)],
  [(355,399.75),(140,639.75),(140,640.25),(355,400.25)],
  [(355,399.75),(200,639.75),(200,640.25),(355,400.25)],
  [(355,399.75),(260,639.75),(260,640.25),(355,400.25)],
  [(355,399.75),(320,639.75),(320,640.25),(355,400.25)],
  [(355,399.75),(355,400.25),(380,640.25),(380,639.75)],
  [(355,399.75),(355,400.25),(440,640.25),(440,639.75)],
  [(355,399.75),(355,400.25),(500,640.25),(500,639.75)],
  [(355,399.75),(355,400.25),(560,640.25),(560,639.75)])
A(integrated_supercomputer, L18_0, 79.75, 120, 0.5, 560, 9, 1, 60, 0)
A(integrated_supercomputer, L18_0, 40, 159.75, 560, 0.5, 1, 9, 0, 60)
R(integrated_supercomputer, L20_0, [(0,0,640,840)])
integrated_supercomputer.add(gdstk.Reference(super_ioc_integrated, (50,720)))
integrated_supercomputer.add(gdstk.Reference(kerr_clock, (320,400)))
integrated_supercomputer.add(gdstk.Reference(pe_0, (50,130)))
integrated_supercomputer.add(gdstk.Reference(pe_1, (110,130)))
integrated_supercomputer.add(gdstk.Reference(pe_2, (170,130)))
integrated_supercomputer.add(gdstk.Reference(pe_3, (230,130)))
integrated_supercomputer.add(gdstk.Reference(pe_4, (290,130)))
integrated_supercomputer.add(gdstk.Reference(pe_5, (350,130)))
integrated_supercomputer.add(gdstk.Reference(pe_6, (410,130)))
integrated_supercomputer.add(gdstk.Reference(pe_7, (470,130)))
integrated_supercomputer.add(gdstk.Reference(pe_8, (530,130)))
integrated_supercomputer.add(gdstk.Reference(pe_9, (50,190)))
integrated_supercomputer.add(gdstk.Reference(pe_10, (110,190)))
integrated_supercomputer.add(gdstk.Reference(pe_11, (170,190)))
integrated_supercomputer.add(gdstk.Reference(pe_12, (230,190)))
integrated_supercomputer.add(gdstk.Reference(pe_13, (290,190)))
integrated_supercomputer.add(gdstk.Reference(pe_14, (350,190)))
integrated_supercomputer.add(gdstk.Reference(pe_15, (410,190)))
integrated_supercomputer.add(gdstk.Reference(pe_16, (470,190)))
integrated_supercomputer.add(gdstk.Reference(pe_17, (530,190)))
integrated_supercomputer.add(gdstk.Reference(pe_18, (50,250)))
integrated_supercomputer.add(gdstk.Reference(pe_19, (110,250)))
integrated_supercomputer.add(gdstk.Reference(pe_20, (170,250)))
integrated_supercomputer.add(gdstk.Reference(pe_21, (230,250)))
integrated_supercomputer.add(gdstk.Reference(pe_22, (290,250)))
integrated_supercomputer.add(gdstk.Reference(pe_23, (350,250)))
integrated_supercomputer.add(gdstk.Reference(pe_24, (410,250)))
integrated_supercomputer.add(gdstk.Reference(pe_25, (470,250)))
integrated_supercomputer.add(gdstk.Reference(pe_26, (530,250)))
integrated_supercomputer.add(gdstk.Reference(pe_27, (50,310)))
integrated_supercomputer.add(gdstk.Reference(pe_28, (110,310)))
integrated_supercomputer.add(gdstk.Reference(pe_29, (170,310)))
integrated_supercomputer.add(gdstk.Reference(pe_30, (230,310)))
integrated_supercomputer.add(gdstk.Reference(pe_31, (290,310)))
integrated_supercomputer.add(gdstk.Reference(pe_32, (350,310)))
integrated_supercomputer.add(gdstk.Reference(pe_33, (410,310)))
integrated_supercomputer.add(gdstk.Reference(pe_34, (470,310)))
integrated_supercomputer.add(gdstk.Reference(pe_35, (530,310)))
integrated_supercomputer.add(gdstk.Reference(pe_36, (50,370)))
integrated_supercomputer.add(gdstk.Reference(pe_37, (110,370)))
integrated_supercomputer.add(gdstk.Reference(pe_38, (170,370)))
integrated_supercomputer.add(gdstk.Reference(pe_39, (230,370)))
integrated_supercomputer.add(gdstk.Reference(pe_40, (350,370)))
integrated_supercomputer.add(gdstk.Reference(pe_41, (410,370)))
integrated_supercomputer.add(gdstk.Reference(pe_42, (470,370)))
integrated_supercomputer.add(gdstk.Reference(pe_43, (530,370)))
integrated_supercomputer.add(gdstk.Reference(pe_44, (50,430)))
integrated_supercomputer.add(gdstk.Reference(pe_45, (110,430)))
integrated_supercomputer.add(gdstk.Reference(pe_46, (170,430)))
integrated_supercomputer.add(gdstk.Reference(pe_47, (230,430)))
integrated_supercomputer.add(gdstk.Reference(pe_48, (290,430)))
integrated_supercomputer.add(gdstk.Reference(pe_49, (350,430)))
integrated_supercomputer.add(gdstk.Reference(pe_50, (410,430)))
integrated_supercomputer.add(gdstk.Reference(pe_51, (470,430)))
integrated_supercomputer.add(gdstk.Reference(pe_52, (530,430)))
integrated_supercomputer.add(gdstk.Reference(pe_53, (50,490)))
integrated_supercomputer.add(gdstk.Reference(pe_54, (110,490)))
integrated_supercomputer.add(gdstk.Reference(pe_55, (170,490)))
integrated_supercomputer.add(gdstk.Reference(pe_56, (230,490)))
integrated_supercomputer.add(gdstk.Reference(pe_57, (290,490)))
integrated_supercomputer.add(gdstk.Reference(pe_58, (350,490)))
integrated_supercomputer.add(gdstk.Reference(pe_59, (410,490)))
integrated_supercomputer.add(gdstk.Reference(pe_60, (470,490)))
integrated_supercomputer.add(gdstk.Reference(pe_61, (530,490)))
integrated_supercomputer.add(gdstk.Reference(pe_62, (50,550)))
integrated_supercomputer.add(gdstk.Reference(pe_63, (110,550)))
integrated_supercomputer.add(gdstk.Reference(pe_64, (170,550)))
integrated_supercomputer.add(gdstk.Reference(pe_65, (230,550)))
integrated_supercomputer.add(gdstk.Reference(pe_66, (290,550)))
integrated_supercomputer.add(gdstk.Reference(pe_67, (350,550)))
integrated_supercomputer.add(gdstk.Reference(pe_68, (410,550)))
integrated_supercomputer.add(gdstk.Reference(pe_69, (470,550)))
integrated_supercomputer.add(gdstk.Reference(pe_70, (530,550)))
integrated_supercomputer.add(gdstk.Reference(pe_71, (50,610)))
integrated_supercomputer.add(gdstk.Reference(pe_72, (110,610)))
integrated_supercomputer.add(gdstk.Reference(pe_73, (170,610)))
integrated_supercomputer.add(gdstk.Reference(pe_74, (230,610)))
integrated_supercomputer.add(gdstk.Reference(pe_75, (290,610)))
integrated_supercomputer.add(gdstk.Reference(pe_76, (350,610)))
integrated_supercomputer.add(gdstk.Reference(pe_77, (410,610)))
integrated_supercomputer.add(gdstk.Reference(pe_78, (470,610)))
integrated_supercomputer.add(gdstk.Reference(pe_79, (530,610)))
integrated_supercomputer.add(gdstk.Label('OUT0', (80,10), layer=100, texttype=0))
integrated_supercomputer.add(gdstk.Label('OUT1', (140,10), layer=100, texttype=0))
integrated_supercomputer.add(gdstk.Label('OUT2', (200,10), layer=100, texttype=0))
integrated_supercomputer.add(gdstk.Label('OUT3', (260,10), layer=100, texttype=0))
integrated_supercomputer.add(gdstk.Label('OUT4', (320,10), layer=100, texttype=0))
integrated_supercomputer.add(gdstk.Label('OUT5', (380,10), layer=100, texttype=0))
integrated_supercomputer.add(gdstk.Label('OUT6', (440,10), layer=100, texttype=0))
integrated_supercomputer.add(gdstk.Label('OUT7', (500,10), layer=100, texttype=0))
integrated_supercomputer.add(gdstk.Label('OUT8', (560,10), layer=100, texttype=0))
integrated_supercomputer.add(gdstk.Label('INTEGRATED SUPERCOMPUTER', (320,835), layer=100, texttype=0))
integrated_supercomputer.add(gdstk.Label('9Ã\x979 Array (80 PEs + Central Kerr)', (320,820), layer=100, texttype=0))
integrated_supercomputer.add(gdstk.Label('â\x98\x85 KERR CLOCK AT CENTER â\x98\x85', (320,350), layer=100, texttype=0))
integrated_supercomputer.add(gdstk.Label('Chip: 640 Ã\x97 840 Î¼m', (320,5), layer=100, texttype=0))

lib.write_gds('integrated_supercomputer.gds')
